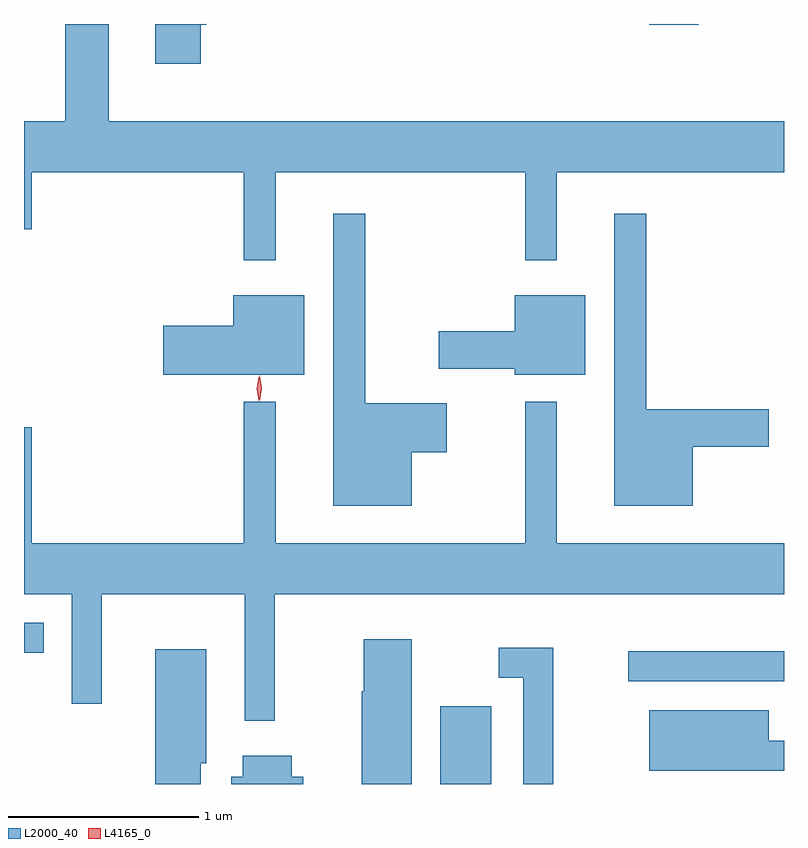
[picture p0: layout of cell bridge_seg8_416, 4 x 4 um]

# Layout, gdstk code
import gdstk
lib = gdstk.Library(unit=1e-6, precision=1e-09)
def R(c, l, rs):  # rectangles x0, y0, x1, y1
    for r in rs: c.add(gdstk.rectangle(r[:2], r[2:], *l))
def P(c, l, *ps):  # polygons
    for p in ps: c.add(gdstk.Polygon(p, *l))
L2000_40 = (2000, 40)
L4165_0 = (4165, 0)

bridge_seg8_416 = lib.new_cell('bridge_seg8_416')
R(bridge_seg8_416, L2000_40, [(876.836,1855.396,877.104,1855.804), (877.823,1855.936,878.644,1856.094), (874.644,1856.086,874.748,1856.244), (877.936,1859.391,878.194,1859.396)])
P(bridge_seg8_416, L2000_40, [(875.574,1859.391),(875.604,1859.391),(875.604,1859.396),(875.336,1859.396),(875.336,1859.186),(875.574,1859.186)],
  [(875.969,1858.616),(877.281,1858.616),(877.281,1858.153),(877.449,1858.153),(877.449,1858.616),(878.644,1858.616),(878.644,1858.884),(875.089,1858.884),(875.089,1859.396),(874.861,1859.396),(874.861,1858.884),(874.644,1858.884),(874.644,1858.316),(874.684,1858.316),(874.684,1858.616),(875.801,1858.616),(875.801,1858.153),(875.969,1858.153)],
  [(876.684,1857.141),(876.869,1857.141),(876.869,1857.399),(876.439,1857.399),(876.439,1858.398),(876.271,1858.398),(876.271,1856.861),(876.684,1856.861)],
  [(878.164,1857.171),(878.564,1857.171),(878.564,1857.369),(877.919,1857.369),(877.919,1858.398),(877.751,1858.398),(877.751,1856.861),(878.164,1856.861)],
  [(877.599,1857.969),(877.226,1857.969),(877.226,1857.779),(876.826,1857.779),(876.826,1857.581),(877.226,1857.581),(877.226,1857.551),(877.599,1857.551)],
  [(876.119,1857.969),(875.746,1857.969),(875.746,1857.809),(875.376,1857.809),(875.376,1857.551),(876.119,1857.551)],
  [(874.684,1857.274),(874.644,1857.274),(874.644,1856.396),(874.896,1856.396),(874.896,1855.818),(875.054,1855.818),(875.054,1856.396),(875.806,1856.396),(875.806,1855.728),(875.964,1855.728),(875.964,1856.396),(878.644,1856.396),(878.644,1856.664),(877.449,1856.664),(877.449,1857.408),(877.281,1857.408),(877.281,1856.664),(875.969,1856.664),(875.969,1857.408),(875.801,1857.408),(875.801,1856.664),(874.684,1856.664)],
  [(876.684,1856.159),(876.431,1856.159),(876.431,1855.885),(876.421,1855.885),(876.421,1855.396),(876.684,1855.396)],
  [(877.429,1856.114),(877.143,1856.114),(877.143,1855.956),(877.271,1855.956),(877.271,1855.396),(877.429,1855.396)],
  [(875.574,1855.506),(875.604,1855.506),(875.604,1856.104),(875.336,1856.104),(875.336,1855.396),(875.574,1855.396)],
  [(878.644,1855.624),(878.564,1855.624),(878.564,1855.784),(877.936,1855.784),(877.936,1855.466),(878.644,1855.466)],
  [(876.114,1855.434),(876.054,1855.434),(876.054,1855.544),(875.796,1855.544),(875.796,1855.434),(875.736,1855.434),(875.736,1855.396),(876.114,1855.396)])
P(bridge_seg8_416, L4165_0, [(875.884,1857.41),(875.875,1857.478),(875.884,1857.545),(875.884,1857.546),(875.885,1857.545),(875.894,1857.478),(875.885,1857.41),(875.885,1857.41)],
  [(875.88,1857.413),(875.879,1857.414),(875.87,1857.476),(875.879,1857.539),(875.879,1857.54),(875.88,1857.539),(875.889,1857.476),(875.88,1857.414)])

lib.write_gds('bridge_seg8_416.gds')
